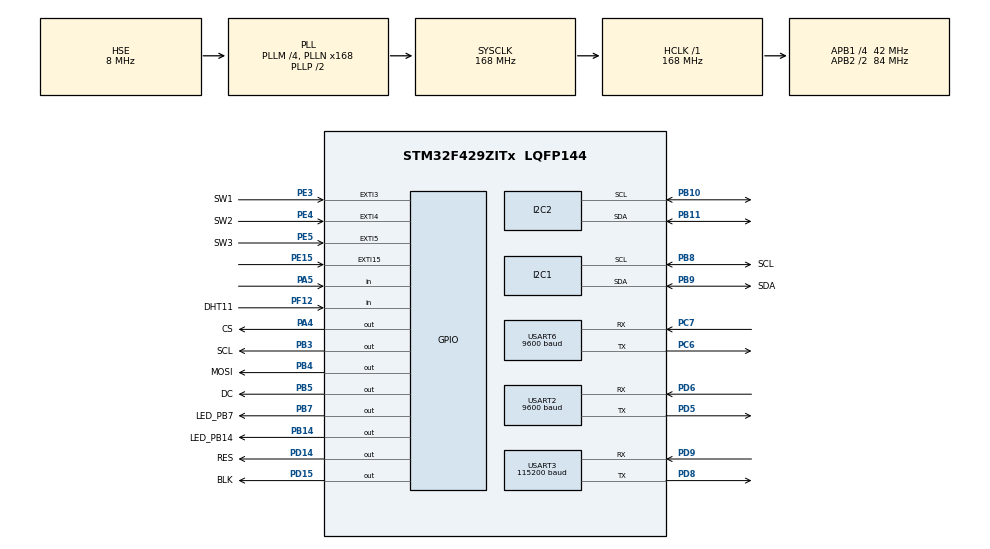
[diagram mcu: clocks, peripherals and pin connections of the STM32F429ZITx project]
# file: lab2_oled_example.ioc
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FREERTOS.Tasks01=defaultTask,24,128,StartDefaultTask,Default,NULL,Dynamic,NULL,NULL
I2C1.I2C_Mode=I2C_Fast
Mcu.Family=STM32F4
Mcu.Name=STM32F429ZITx
Mcu.Package=LQFP144
NVIC.EXTI15_10_IRQn=true\:5\:0\:false\:false\:true\:true\:true\:true\:true
NVIC.EXTI3_IRQn=true\:5\:0\:false\:false\:true\:true\:true\:true\:true
NVIC.EXTI4_IRQn=true\:5\:0\:false\:false\:true\:true\:true\:true\:true
NVIC.EXTI9_5_IRQn=true\:5\:0\:false\:false\:true\:true\:true\:true\:true
NVIC.PriorityGroup=NVIC_PRIORITYGROUP_4
NVIC.TIM1_UP_TIM10_IRQn=true\:15\:0\:false\:false\:true\:false\:false\:true\:true
NVIC.TIM2_IRQn=true\:5\:0\:false\:false\:true\:true\:true\:true\:true
NVIC.TimeBase=TIM1_UP_TIM10_IRQn
NVIC.TimeBaseIP=TIM1
NVIC.USART2_IRQn=true\:5\:0\:false\:false\:true\:true\:true\:true\:true
NVIC.USART3_IRQn=true\:5\:0\:false\:false\:true\:true\:true\:true\:true
NVIC.USART6_IRQn=true\:5\:0\:false\:false\:true\:true\:true\:true\:true
PA13.Mode=Serial_Wire
PA13.Signal=SYS_JTMS-SWDIO
PA14.Mode=Serial_Wire
PA14.Signal=SYS_JTCK-SWCLK
PA4.GPIO_Label=CS
PA4.Signal=GPIO_Output
PA5.GPIO_PuPd=GPIO_PULLUP
PA5.Signal=GPIO_Input
PB10.Mode=I2C
PB10.Signal=I2C2_SCL
PB11.Mode=I2C
PB11.Signal=I2C2_SDA
PB14.GPIO_Label=LED_PB14
PB14.Signal=GPIO_Output
PB3.GPIO_Label=SCL
PB3.Signal=GPIO_Output
PB4.GPIO_Label=MOSI
PB4.Signal=GPIO_Output
PB5.GPIO_Label=DC
PB5.Signal=GPIO_Output
PB7.GPIO_Label=LED_PB7
PB7.Signal=GPIO_Output
PB8.GPIO_Label=SCL
PB8.Mode=I2C
PB8.Signal=I2C1_SCL
PB9.GPIO_Label=SDA
PB9.Mode=I2C
PB9.Signal=I2C1_SDA
PC14/OSC32_IN.Mode=LSE-External-Oscillator
PC14/OSC32_IN.Signal=RCC_OSC32_IN
PC15/OSC32_OUT.Mode=LSE-External-Oscillator
PC15/OSC32_OUT.Signal=RCC_OSC32_OUT
PC6.Mode=Asynchronous
PC6.Signal=USART6_TX
PC7.Mode=Asynchronous
PC7.Signal=USART6_RX
PD14.GPIO_Label=RES
PD14.Signal=GPIO_Output
PD15.GPIO_Label=BLK
PD15.Signal=GPIO_Output
PD5.Mode=Asynchronous
PD5.Signal=USART2_TX
PD6.Mode=Asynchronous
PD6.Signal=USART2_RX
PD8.Mode=Asynchronous
PD8.Signal=USART3_TX
PD9.Mode=Asynchronous
PD9.Signal=USART3_RX
PE15.GPIO_ModeDefaultEXTI=GPIO_MODE_IT_FALLING
PE15.GPIO_PuPd=GPIO_PULLUP
PE15.Signal=GPXTI15
PE3.GPIO_Label=SW1
PE3.Signal=GPXTI3
PE4.GPIO_Label=SW2
PE4.Signal=GPXTI4
PE5.GPIO_Label=SW3
PE5.GPIO_ModeDefaultEXTI=GPIO_MODE_IT_RISING
PE5.GPIO_PuPd=GPIO_NOPULL
PE5.Signal=GPXTI5
PF12.GPIO_Label=DHT11
PF12.Signal=GPIO_Input
PH0/OSC_IN.Mode=HSE-External-Oscillator
PH0/OSC_IN.Signal=RCC_OSC_IN
PH1/OSC_OUT.Mode=HSE-External-Oscillator
PH1/OSC_OUT.Signal=RCC_OSC_OUT
ProjectManager.HeapSize=0x200
ProjectManager.StackSize=0x400
ProjectManager.TargetToolchain=MDK-ARM V5.32
RCC.48MHZClocksFreq_Value=48000000
RCC.AHBFreq_Value=168000000
RCC.APB1CLKDivider=RCC_HCLK_DIV4
RCC.APB1Freq_Value=42000000
RCC.APB1TimFreq_Value=84000000
RCC.APB2CLKDivider=RCC_HCLK_DIV2
RCC.APB2Freq_Value=84000000
RCC.APB2TimCLKDivider=2
RCC.APB2TimFreq_Value=168000000
RCC.CortexFreq_Value=168000000
RCC.HCLKFreq_Value=168000000
RCC.HSE_VALUE=8000000
RCC.HSI_VALUE=16000000
RCC.PLLM=4
RCC.PLLMUL=RCC_PLL_MUL9
RCC.PLLN=168
RCC.PLLQ=7
RCC.PLLSourceVirtual=RCC_PLLSOURCE_HSE
RCC.PRESCALERUSB=RCC_USBCLKSOURCE_PLL_DIV1_5
RCC.SYSCLKFreq_VALUE=168000000
RCC.SYSCLKSource=RCC_SYSCLKSOURCE_PLLCLK
RCC.SYSCLKSourceVirtual=RCC_SYSCLKSOURCE_PLLCLK
RCC.USBFreq_Value=48000000
RCC.VCOOutputFreq_Value=336000000
TIM2.Prescaler=83
USART2.BaudRate=9600
USART2.VirtualMode=VM_ASYNC
USART3.BaudRate=115200
USART3.VirtualMode=VM_ASYNC
USART6.BaudRate=9600
USART6.VirtualMode=VM_ASYNC
VP_FREERTOS_VS_CMSIS_V2.Mode=CMSIS_V2
VP_SYS_VS_tim1.Mode=TIM1
VP_TIM2_VS_ClockSourceINT.Mode=Internal
board=NUCLEO-F429ZI

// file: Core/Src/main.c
/* USER CODE BEGIN Header */
/**
 ******************************************************************************
 * @file           : main.c
 * @brief          : Main program body
 ******************************************************************************
 * @attention
 *
 * Copyright (c) 2024 STMicroelectronics.
 * All rights reserved.
 *
 * This software is licensed under terms that can be found in the LICENSE file
 * in the root directory of this software component.
 * If no LICENSE file comes with this software, it is provided AS-IS.
 *
 ******************************************************************************
 */
/* USER CODE END Header */
#include "main.h"
#include "cmsis_os.h"
#include "i2c.h"
#include "tim.h"
#include "usart.h"
#include "gpio.h"

/* USER CODE BEGIN Includes */
#include "stdio.h"
#include "stdbool.h"
#include "string.h"

#include "FreeRTOS.h"
#include "task.h"
#include "queue.h"
#include "dht11.h"
#include "lcd.h"
#include "lcd_init.h"

#include "gps_neo6.h"
#include "max30102_for_stm32_hal.h"

/* USER CODE END Includes */

/* USER CODE BEGIN PD */

#define UART_BUFFER_SIZE 256
#define BC_INTERFACE_MSG_LEN 11

uint8_t uart_rx_buffer[UART_BUFFER_SIZE];
uint8_t uart_rx_data;
volatile uint16_t uart_rx_index = 0;
volatile uint8_t uart_data_ready = 0;

volatile uint8_t lora_tx_ready = 1;

NEO6_State GpsData;
max30102_t max30102;

uint32_t max_heart_rate = 0;

/* USER CODE END PD */

void SystemClock_Config(void);
void MX_FREERTOS_Init(void);

/* USER CODE BEGIN 0 */

void taskST7789(void *pvParm){
	LCD_Fill(0, 0, 240, 240, WHITE);

	uint8_t str_id[] = "B11117054";
	uint8_t str_name[] = "Hsu Zhi-Dong";
	uint8_t str_phone[] = "0902-396-782";

	LCD_ShowString(10, 100, str_id, WHITE, BLACK, 32, 0);
	LCD_ShowString(10, 135, str_name, WHITE, BLACK, 32, 0);
	LCD_ShowString(10, 170, str_phone, WHITE, BLACK, 32, 0);

	while(1){
		vTaskDelay(5000 / portTICK_RATE_MS);
	}
}

void taskLora(void *pvParm)
{
	HAL_UART_Receive_IT(&huart2, &uart_rx_data, 1);
	uint16_t message_len = 15;
	uint8_t message[message_len];
	memset(message, 0, message_len);

	lora_tx_ready = 1;

	while (1){
		vTaskDelay(1000 / portTICK_RATE_MS);
		if (lora_tx_ready == 0){
			continue;
		}

		message[0] = '#';

		if(NEO6_IsFix(&GpsData))
		{
			message[1] = 1;
			float lat = nmea_to_decimal(GpsData.Latitude);
			float lon = nmea_to_decimal(GpsData.Longitude);
			memcpy(message + 2, &lat, 4);
			memcpy(message + 6, &lon, 4);
		}else {
			message[1] = 0;
			memset(message + 2, 0, 8);
		}

		if (max_heart_rate != 0) {
			message[10] = 1;
			memcpy(message + 11, &max_heart_rate, 4);
		}else {
			message[10] = 0;
			memset(message + 11, 0, 4);
		}

		HAL_StatusTypeDef status = HAL_UART_Transmit(&huart2, message, message_len, HAL_MAX_DELAY);
		lora_tx_ready = 0;
		printf("[Lora] Written %d bytes\r\n", message_len);

	}
}

void taskGPSRecv(void *pvParm)
{
	while(1){
		vTaskDelay(10 / portTICK_RATE_MS);
		NEO6_Task(&GpsData);
	}
}

void taskGPSEval(void *pvParm)
{
	while(1){
		vTaskDelay(500 / portTICK_RATE_MS);

		if(NEO6_IsFix(&GpsData))
		{
			printf("[GPSModule] Lat: %.4f, Lon: %.4f\r\n", nmea_to_decimal(GpsData.Latitude), nmea_to_decimal(GpsData.Longitude));
		}else {
			printf("[GPSModule] Waiting for the signal...\r\n");
		}
	}
}

void taskMax30102Int(void *pvParm){
	while(1){
		vTaskDelay(10 / portTICK_RATE_MS);
		if (max30102_has_interrupt(&max30102))
    {
				printf("[MAX30102] Has Int\r\n");
				max30102_interrupt_handler(&max30102);
    }
	}
}

void taskMax30102(void* pvParm){

	max30102_set_mode(&max30102, max30102_heart_rate);

	printf("[MAX30102] Set Mode\r\n");

	int8_t hr_valid = 0;
	int8_t spo2_valid = 0;

	int32_t hr_val = 0;
	int32_t spo2_val = 0;

	while(1){
		for (int i = 0; i < BUFFER_SIZE; i++)
    {
        max30102_read_fifo(&max30102);
				vTaskDelay(10 / portTICK_RATE_MS);
		}

		maxim_heart_rate_and_oxygen_saturation(max30102._ir_samples, 100, max30102._red_samples, &spo2_val, &spo2_valid, &hr_val, &hr_valid);
		if (hr_valid){
			max_heart_rate = hr_val;
		}
		vTaskDelay(1000 / portTICK_RATE_MS);
	}
}

void HAL_GPIO_EXTI_Callback(uint16_t GPIO_Pin)
{
		if (GPIO_Pin == GPIO_PIN_15){
			printf("[MAX30102] Int\r\n");
			max30102_on_interrupt(&max30102);
		}
}

void HAL_UART_RxCpltCallback(UART_HandleTypeDef *huart)
{
    if(huart->Instance == USART2)
    {
			  uart_rx_buffer[uart_rx_index] = uart_rx_data;
        uart_rx_index++;

        if(uart_rx_data == '\n' || uart_rx_data == '\r')
        {
            uart_rx_buffer[uart_rx_index] = '\0';
            uart_data_ready = 1;
						lora_tx_ready = 1;
        }
        HAL_UART_Receive_IT(&huart2, &uart_rx_data, 1);
    }	else if (huart->Instance == USART6){
				NEO6_ReceiveUartChar(&GpsData);
		}
}

/* USER CODE END 0 */

int main(void)
{

  /* MCU Configuration--------------------------------------------------------*/

  /* Reset of all peripherals, Initializes the Flash interface and the Systick. */
  HAL_Init();

  /* Configure the system clock */
  SystemClock_Config();

  /* Initialize all configured peripherals */
  MX_GPIO_Init();
  MX_I2C1_Init();
  MX_USART3_UART_Init();
  MX_TIM2_Init();
  MX_USART2_UART_Init();
  MX_USART6_UART_Init();
  MX_I2C2_Init();
  /* USER CODE BEGIN 2 */
	printf("[Main] System Init\r\n");

	LCD_Init();
	LCD_CS_Clr();
	LCD_Address_Set(0,0,240,240);
	NEO6_Init(&GpsData, &huart6);

	max30102_init(&max30102, &hi2c2);
	max30102_reset(&max30102);
	max30102_clear_fifo(&max30102);
	// FIFO configurations
	max30102_set_fifo_config(&max30102, max30102_smp_ave_8, 1, 7);
	// LED configurations
  max30102_set_led_pulse_width(&max30102, max30102_pw_16_bit);
  max30102_set_adc_resolution(&max30102, max30102_adc_2048);
  max30102_set_sampling_rate(&max30102, max30102_sr_800);
  max30102_set_led_current_1(&max30102, 6.2);
  max30102_set_led_current_2(&max30102, 6.2);

	max30102_set_die_temp_en(&max30102, 1);
  max30102_set_die_temp_rdy(&max30102, 1);

	uint8_t en_reg[2] = {0};
  max30102_read(&max30102, 0x00, en_reg, 1);

	xTaskCreate(taskGPSRecv, "GPSRecv", 512, NULL, 4, NULL);
	xTaskCreate(taskMax30102Int, "taskMax30102Int", 512, NULL, 4, NULL);

	xTaskCreate(taskGPSEval, "GPSEval", 512, NULL, 4, NULL);
	xTaskCreate(taskLora, "taskLora", 1024, NULL, 5, NULL);

	xTaskCreate(taskMax30102, "taskMax30102", 512, NULL, 6, NULL);

	xTaskCreate(taskST7789, "LCD Display", 256, NULL, 10, NULL);

	printf("[Main] Starting scheduler...\r\n");
	vTaskStartScheduler();
  /* USER CODE END 2 */

  /* Init scheduler */
  osKernelInitialize();  /* Call init function for freertos objects (in freertos.c) */
  MX_FREERTOS_Init();

  /* Start scheduler */
  osKernelStart();

  /* We should never get here as control is now taken by the scheduler */
  /* Infinite loop */
  while (1)
  {

  }
}

void SystemClock_Config(void)
{
  RCC_OscInitTypeDef RCC_OscInitStruct = {0};
  RCC_ClkInitTypeDef RCC_ClkInitStruct = {0};

  /** Configure the main internal regulator output voltage
  */
  __HAL_RCC_PWR_CLK_ENABLE();
  __HAL_PWR_VOLTAGESCALING_CONFIG(PWR_REGULATOR_VOLTAGE_SCALE1);

  /** Initializes the RCC Oscillators according to the specified parameters
  * in the RCC_OscInitTypeDef structure.
  */
  RCC_OscInitStruct.OscillatorType = RCC_OSCILLATORTYPE_HSE;
  RCC_OscInitStruct.HSEState = RCC_HSE_ON;
  RCC_OscInitStruct.PLL.PLLState = RCC_PLL_ON;
  RCC_OscInitStruct.PLL.PLLSource = RCC_PLLSOURCE_HSE;
  RCC_OscInitStruct.PLL.PLLM = 4;
  RCC_OscInitStruct.PLL.PLLN = 168;
  RCC_OscInitStruct.PLL.PLLP = RCC_PLLP_DIV2;
  RCC_OscInitStruct.PLL.PLLQ = 7;
  if (HAL_RCC_OscConfig(&RCC_OscInitStruct) != HAL_OK)
  {
    Error_Handler();
  }

  /** Initializes the CPU, AHB and APB buses clocks
  */
  RCC_ClkInitStruct.ClockType = RCC_CLOCKTYPE_HCLK|RCC_CLOCKTYPE_SYSCLK
                              |RCC_CLOCKTYPE_PCLK1|RCC_CLOCKTYPE_PCLK2;
  RCC_ClkInitStruct.SYSCLKSource = RCC_SYSCLKSOURCE_PLLCLK;
  RCC_ClkInitStruct.AHBCLKDivider = RCC_SYSCLK_DIV1;
  RCC_ClkInitStruct.APB1CLKDivider = RCC_HCLK_DIV4;
  RCC_ClkInitStruct.APB2CLKDivider = RCC_HCLK_DIV2;

  if (HAL_RCC_ClockConfig(&RCC_ClkInitStruct, FLASH_LATENCY_5) != HAL_OK)
  {
    Error_Handler();
  }
}

void HAL_TIM_PeriodElapsedCallback(TIM_HandleTypeDef *htim)
{
  if (htim->Instance == TIM1) {
    HAL_IncTick();
  }
}

void Error_Handler(void)
{
    __disable_irq();
    while (1)
    {
    }
}
